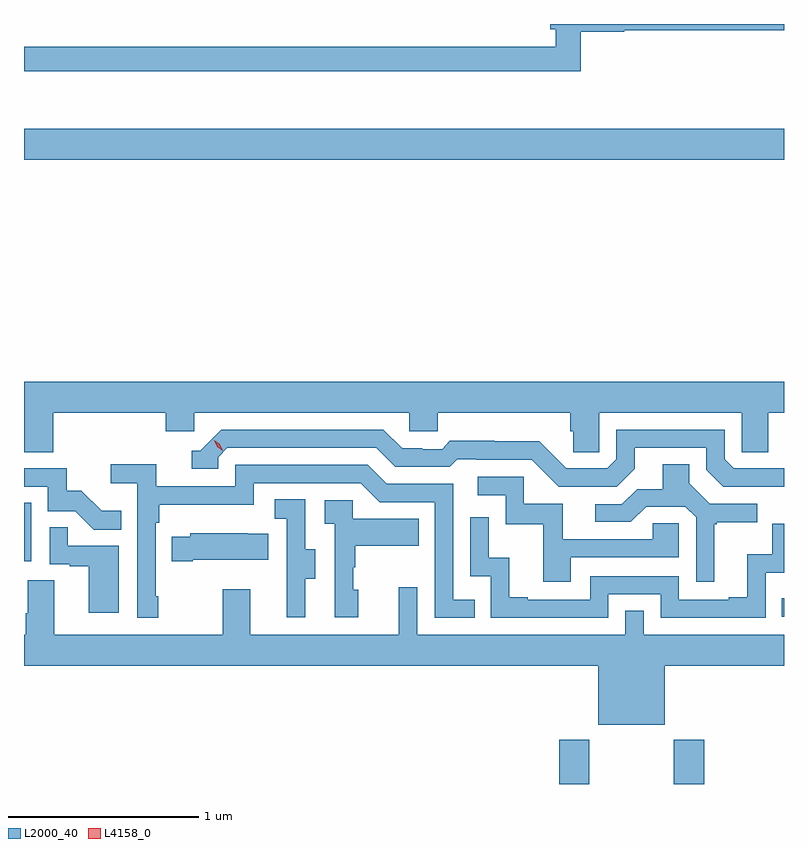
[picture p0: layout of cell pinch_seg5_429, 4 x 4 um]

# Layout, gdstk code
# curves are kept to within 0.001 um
import gdstk
lib = gdstk.Library(unit=1e-6, precision=1e-09)
def R(c, l, rs):  # rectangles x0, y0, x1, y1
    for r in rs: c.add(gdstk.rectangle(r[:2], r[2:], *l))
def P(c, l, *ps):  # polygons
    for p in ps: c.add(gdstk.Polygon(p, *l))
L2000_40 = (2000, 40)
L4158_0 = (4158, 0)

pinch_seg5_429 = lib.new_cell('pinch_seg5_429')
R(pinch_seg5_429, L2000_40, [(906.635,872.122,906.795,872.356), (907.24,872.122,907.4,872.356), (907.807,873.003,907.819,873.1), (903.819,873.294,903.856,873.601), (903.819,875.408,907.819,875.572)])
P(pinch_seg5_429, L2000_40, [(906.749,876.08),(906.978,876.08),(906.978,876.088),(907.819,876.088),(907.819,876.122),(906.59,876.122),(906.59,876.095),(906.617,876.095),(906.617,876.002),(903.819,876.002),(903.819,875.874),(906.749,875.874)],
  [(903.974,874.076),(904.565,874.076),(904.565,873.978),(904.716,873.978),(904.716,874.076),(905.847,874.076),(905.847,873.978),(905.997,873.978),(905.997,874.076),(906.695,874.076),(906.695,873.978),(906.709,873.978),(906.709,873.868),(906.846,873.868),(906.846,874.076),(907.596,874.076),(907.596,873.868),(907.735,873.868),(907.735,874.076),(907.819,874.076),(907.819,874.24),(903.819,874.24),(903.819,873.868),(903.974,873.868)],
  [(907.819,873.783),(907.554,873.783),(907.506,873.831),(907.506,873.987),(906.936,873.987),(906.936,873.831),(906.888,873.783),(906.672,873.783),(906.53,873.925),(906.294,873.925),(906.294,873.928),(906.061,873.928),(906.019,873.885),(905.916,873.885),(905.916,873.888),(905.809,873.888),(905.71,873.987),(904.857,873.987),(904.746,873.876),(904.703,873.876),(904.703,873.78),(904.842,873.78),(904.842,873.843),(904.89,873.891),(905.673,873.891),(905.772,873.792),(906.061,873.792),(906.1,873.831),(906.199,873.831),(906.199,873.828),(906.492,873.828),(906.633,873.687),(906.939,873.687),(907.033,873.781),(907.033,873.891),(907.41,873.891),(907.41,873.777),(907.5,873.687),(907.819,873.686)],
  [(907.453,873.489),(907.465,873.489),(907.465,873.5),(907.678,873.5),(907.678,873.597),(907.428,873.597),(907.321,873.704),(907.321,873.806),(907.181,873.806),(907.181,873.674),(907.046,873.674),(906.966,873.594),(906.825,873.594),(906.825,873.501),(907.012,873.501),(907.093,873.582),(907.299,873.582),(907.356,873.525),(907.356,873.186),(907.453,873.186)],
  [(904.525,873.109),(904.512,873.109),(904.512,873.497),(904.532,873.497),(904.532,873.593),(905.028,873.593),(905.028,873.705),(905.592,873.705),(905.691,873.606),(905.982,873.606),(905.982,872.997),(906.191,872.997),(906.191,873.093),(906.078,873.093),(906.078,873.702),(905.728,873.702),(905.629,873.801),(904.932,873.801),(904.932,873.69),(904.514,873.69),(904.514,873.806),(904.275,873.806),(904.275,873.704),(904.416,873.704),(904.416,872.997),(904.525,872.997)],
  [(904.331,873.559),(904.227,873.559),(904.12,873.666),(904.044,873.666),(904.044,873.783),(903.819,873.783),(903.819,873.687),(903.945,873.687),(903.945,873.558),(904.089,873.558),(904.187,873.46),(904.331,873.46)],
  [(906.697,873.315),(907.266,873.315),(907.266,873.495),(907.129,873.495),(907.129,873.411),(906.655,873.411),(906.655,873.597),(906.45,873.597),(906.45,873.738),(906.207,873.738),(906.207,873.642),(906.354,873.642),(906.354,873.489),(906.553,873.489),(906.553,873.186),(906.697,873.186)],
  [(905.299,873.202),(905.353,873.202),(905.353,873.357),(905.298,873.357),(905.298,873.62),(905.139,873.62),(905.139,873.517),(905.202,873.517),(905.202,873.213),(905.201,873.213),(905.201,873),(905.299,873)],
  [(905.578,873.144),(905.553,873.144),(905.553,873.263),(905.563,873.263),(905.563,873.377),(905.897,873.377),(905.897,873.517),(905.55,873.517),(905.55,873.615),(905.403,873.615),(905.403,873.491),(905.454,873.491),(905.454,873),(905.578,873)],
  [(906.894,873.12),(907.17,873.12),(907.17,872.997),(907.722,872.997),(907.722,873.233),(907.819,873.233),(907.819,873.492),(907.758,873.492),(907.758,873.331),(907.625,873.331),(907.625,873.106),(907.529,873.106),(907.529,873.093),(907.266,873.093),(907.266,873.216),(906.798,873.216),(906.798,873.093),(906.469,873.093),(906.469,873.106),(906.374,873.106),(906.374,873.314),(906.264,873.314),(906.264,873.526),(906.168,873.526),(906.168,873.216),(906.276,873.216),(906.276,872.997),(906.894,872.997)],
  [(904.318,873.375),(904.049,873.375),(904.049,873.473),(903.954,873.473),(903.954,873.279),(904.061,873.279),(904.061,873.267),(904.16,873.267),(904.16,873.024),(904.318,873.024)],
  [(904.708,873.302),(905.105,873.302),(905.105,873.439),(904.997,873.439),(904.997,873.442),(904.695,873.442),(904.695,873.424),(904.597,873.424),(904.597,873.295),(904.708,873.295)],
  [(907.192,872.744),(907.819,872.744),(907.819,872.908),(907.08,872.908),(907.08,873.035),(906.984,873.035),(906.984,872.908),(905.889,872.908),(905.889,873.157),(905.792,873.157),(905.792,872.908),(905.011,872.908),(905.011,873.148),(904.864,873.148),(904.864,872.908),(903.979,872.908),(903.979,873.194),(903.839,873.194),(903.839,873.02),(903.827,873.02),(903.827,872.908),(903.819,872.908),(903.819,872.744),(906.842,872.744),(906.842,872.435),(907.192,872.435)])
P(pinch_seg5_429, L4158_0, [(904.865,873.876),(904.835,873.897),(904.82,873.93),(904.82,873.93),(904.82,873.93),(904.85,873.91),(904.865,873.877),(904.865,873.876)])

lib.write_gds('pinch_seg5_429.gds')
